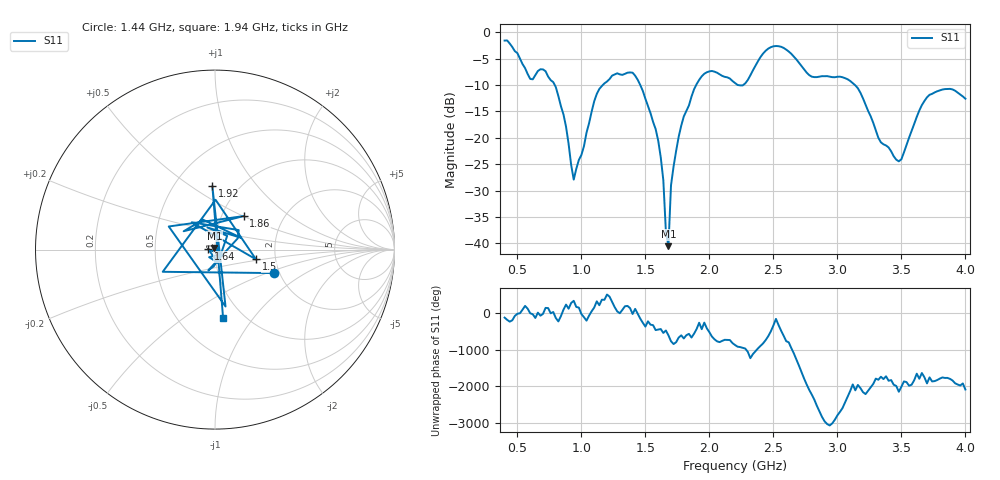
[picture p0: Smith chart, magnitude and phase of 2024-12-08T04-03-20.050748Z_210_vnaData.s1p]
!Created with skrf (http://scikit-rf.org).
# Hz S RI R 50.0
!freq ReS11 ImS11
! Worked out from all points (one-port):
!   181 points, 400 MHz to 4 GHz, reference 50 ohm
!   lowest |S11| = -40.5 dB at 1.68 GHz (marker M1), VSWR 1.02, Z = 49.7 + j0.883 ohm
!   |S11| at or under -10 dB: 791.9 MHz to 1.167 GHz (375.2 MHz wide, 38.3 % of centre); 1.46 GHz to 1.897 GHz (436.6 MHz wide, 26 % of centre); 3.137 GHz to end of sweep (the widest 3 of 4)
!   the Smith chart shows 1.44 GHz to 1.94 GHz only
!   S11 on the Smith chart (normalised r, x): 1.44 GHz: 1.87, -0.56; 1.5 GHz: 1.58, -0.18; 1.64 GHz: 0.92, +0.01; 1.86 GHz: 1.27, +0.50; 1.92 GHz: 0.76, +0.61; 1.94 GHz: 0.81, -0.72
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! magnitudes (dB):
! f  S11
! 400 MHz  -1.6
! 600 MHz  -8.8
! 720 MHz  -7.4
! 860 MHz  -15.6
! 940 MHz  -27.9
! 1.12 GHz  -11.7
! 1.3 GHz  -8.0
! 1.44 GHz  -9.0
! 1.5 GHz  -12.6
! 1.6 GHz  -20.5
! 1.64 GHz  -28.0
! 1.66 GHz  -37.8
! 1.68 GHz  -40.5
! 1.7 GHz  -29.0
! 1.76 GHz  -19.8
! 1.86 GHz  -12.2
! 1.92 GHz  -9.0
! 1.94 GHz  -8.3
! 2.2 GHz  -9.6
! 2.28 GHz  -9.7
! 2.48 GHz  -2.8
! 2.66 GHz  -4.6
! 2.8 GHz  -8.4
! 3.1 GHz  -9.2
! 3.46 GHz  -24.1
! 3.56 GHz  -20.0
! 3.72 GHz  -11.8
! 4 GHz  -12.6
